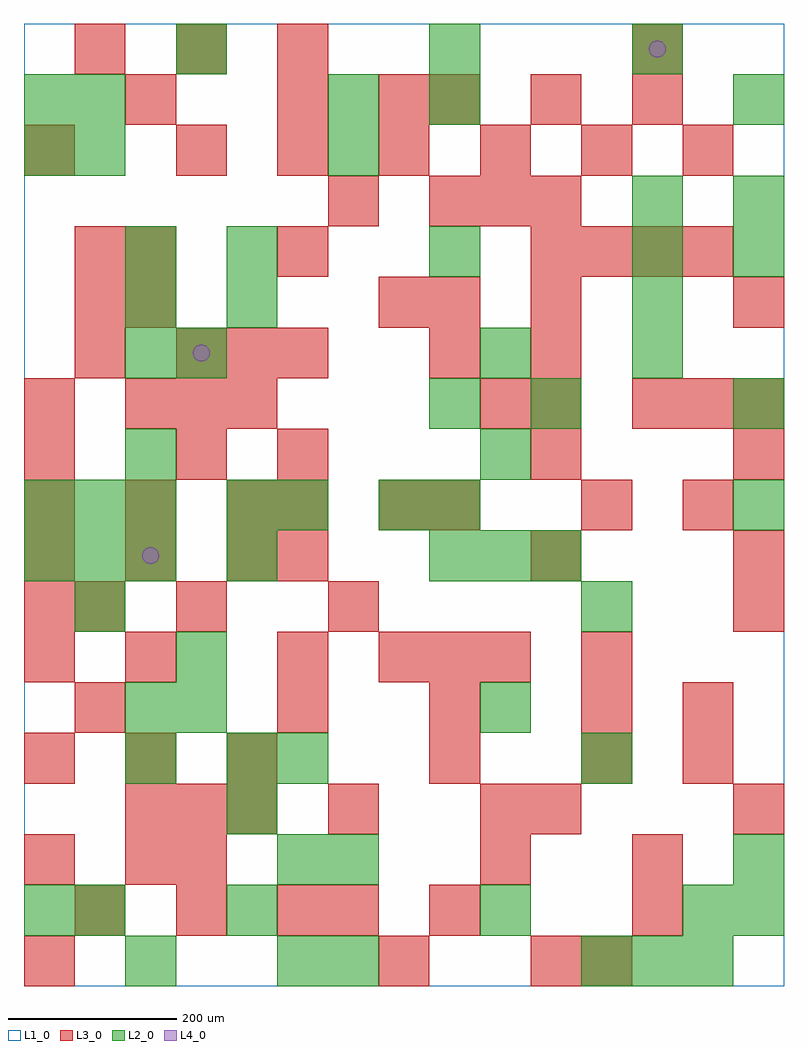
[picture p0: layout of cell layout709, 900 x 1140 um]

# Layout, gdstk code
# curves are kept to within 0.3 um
import gdstk
lib = gdstk.Library(unit=1e-6, precision=1e-09)
def R(c, l, rs):  # rectangles x0, y0, x1, y1
    for r in rs: c.add(gdstk.rectangle(r[:2], r[2:], *l))
def A(c, l, x, y, w, h, nx, ny, dx, dy):  # array of equal rectangles
    R(c, l, [(x+i*dx, y+j*dy, x+i*dx+w, y+j*dy+h) for i in range(nx) for j in range(ny)])
def P(c, l, *ps):  # polygons
    for p in ps: c.add(gdstk.Polygon(p, *l))
L1_0 = (1, 0)
L2_0 = (2, 0)
L3_0 = (3, 0)
L4_0 = (4, 0)

layout709 = lib.new_cell('layout709')
R(layout709, L1_0, [(0,0,900,1140)])
A(layout709, L2_0, 300, 0, 60, 60, 1, 3, 0, 120)
A(layout709, L2_0, 660, 0, 60, 60, 3, 1, 60, 0)
A(layout709, L2_0, 180, 360, 60, 60, 1, 3, 0, 360)
A(layout709, L2_0, 0, 480, 60, 60, 3, 2, 60, 60)
A(layout709, L2_0, 480, 480, 60, 60, 3, 1, 60, 0)
A(layout709, L2_0, 120, 720, 60, 60, 1, 3, 0, 60)
A(layout709, L2_0, 240, 840, 60, 60, 3, 1, 240, 0)
R(layout709, L2_0, [(120,0,180,60), (360,0,420,60), (0,60,60,120), (60,60,120,120), (240,60,300,120), (540,60,600,120), (780,60,840,120), (840,60,900,120), (360,120,420,180), (840,120,900,180), (240,180,300,240), (120,240,180,300), (240,240,300,300), (660,240,720,300), (120,300,180,360), (180,300,240,360), (540,300,600,360), (60,420,120,480), (660,420,720,480), (240,480,300,540), (240,540,300,600), (300,540,360,600), (420,540,480,600), (480,540,540,600), (840,540,900,600), (120,600,180,660), (540,600,600,660), (480,660,540,720), (600,660,660,720), (840,660,900,720), (540,720,600,780), (720,720,780,780), (240,780,300,840), (720,780,780,840), (840,840,900,900), (720,900,780,960), (840,900,900,960), (0,960,60,1020), (60,960,120,1020), (360,960,420,1020), (0,1020,60,1080), (60,1020,120,1080), (360,1020,420,1080), (480,1020,540,1080), (840,1020,900,1080), (480,1080,540,1140), (720,1080,780,1140)])
A(layout709, L3_0, 60, 60, 60, 60, 3, 2, 120, 1020)
A(layout709, L3_0, 120, 180, 60, 60, 3, 2, 60, 480)
A(layout709, L3_0, 0, 240, 60, 60, 3, 2, 120, 240)
A(layout709, L3_0, 300, 300, 60, 60, 3, 1, 180, 0)
A(layout709, L3_0, 420, 360, 60, 60, 3, 1, 60, 0)
A(layout709, L3_0, 300, 480, 60, 60, 1, 3, 0, 60)
A(layout709, L3_0, 0, 540, 60, 60, 3, 1, 120, 0)
A(layout709, L3_0, 420, 540, 60, 60, 1, 3, 0, 240)
A(layout709, L3_0, 600, 600, 60, 60, 1, 4, 0, 60)
A(layout709, L3_0, 720, 660, 60, 60, 3, 1, 60, 0)
A(layout709, L3_0, 60, 720, 60, 60, 1, 3, 0, 60)
A(layout709, L3_0, 180, 720, 60, 60, 3, 1, 60, 0)
A(layout709, L3_0, 600, 840, 60, 60, 4, 1, 60, 0)
A(layout709, L3_0, 480, 900, 60, 60, 3, 1, 60, 0)
A(layout709, L3_0, 180, 960, 60, 60, 6, 1, 120, 0)
A(layout709, L3_0, 480, 1020, 60, 60, 3, 1, 120, 0)
R(layout709, L3_0, [(0,0,60,60), (420,0,480,60), (600,0,660,60), (660,0,720,60), (360,60,420,120), (480,60,540,120), (720,60,780,120), (0,120,60,180), (120,120,180,180), (180,120,240,180), (540,120,600,180), (720,120,780,180), (360,180,420,240), (540,180,600,240), (600,180,660,240), (840,180,900,240), (480,240,540,300), (660,240,720,300), (780,240,840,300), (60,300,120,360), (780,300,840,360), (0,360,60,420), (120,360,180,420), (300,360,360,420), (660,360,720,420), (0,420,60,480), (60,420,120,480), (180,420,240,480), (360,420,420,480), (840,420,900,480), (600,480,660,540), (840,480,900,540), (480,540,540,600), (660,540,720,600), (780,540,840,600), (0,600,60,660), (180,600,240,660), (840,600,900,660), (0,660,60,720), (540,660,600,720), (480,720,540,780), (120,780,180,840), (480,780,540,840), (840,780,900,840), (120,840,180,900), (300,840,360,900), (360,900,420,960), (0,960,60,1020), (120,1020,180,1080), (300,1020,360,1080), (720,1080,780,1140)])
P(layout709, L4_0, [(160,510),(159.239,513.827),(157.071,517.071),(153.827,519.239),(150,520),(146.173,519.239),(142.929,517.071),(140.761,513.827),(140,510),(140.761,506.173),(142.929,502.929),(146.173,500.761),(150,500),(153.827,500.761),(157.071,502.929),(159.239,506.173)],
  [(220,750),(219.239,753.827),(217.071,757.071),(213.827,759.239),(210,760),(206.173,759.239),(202.929,757.071),(200.761,753.827),(200,750),(200.761,746.173),(202.929,742.929),(206.173,740.761),(210,740),(213.827,740.761),(217.071,742.929),(219.239,746.173)],
  [(760,1110),(759.239,1113.827),(757.071,1117.071),(753.827,1119.239),(750,1120),(746.173,1119.239),(742.929,1117.071),(740.761,1113.827),(740,1110),(740.761,1106.173),(742.929,1102.929),(746.173,1100.761),(750,1100),(753.827,1100.761),(757.071,1102.929),(759.239,1106.173)])

lib.write_gds('layout709.gds')
